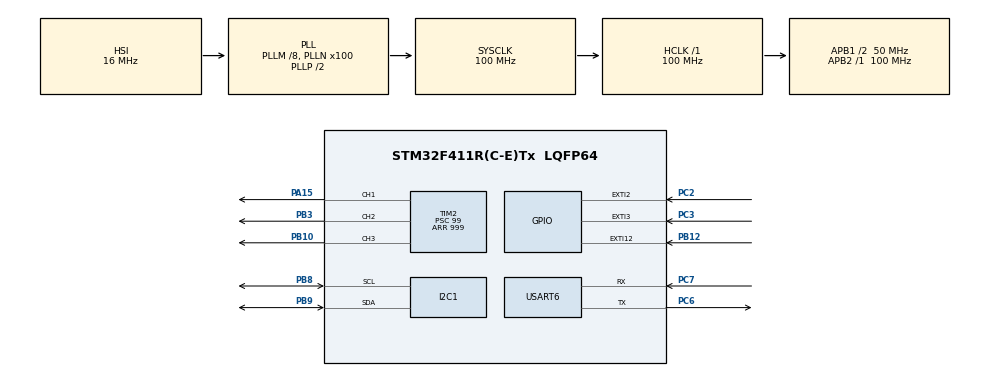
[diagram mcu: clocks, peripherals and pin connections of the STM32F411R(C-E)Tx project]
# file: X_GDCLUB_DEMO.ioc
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Dma.I2C1_RX.0.Direction=DMA_PERIPH_TO_MEMORY
Dma.I2C1_RX.0.FIFOMode=DMA_FIFOMODE_DISABLE
Dma.I2C1_RX.0.Instance=DMA1_Stream0
Dma.I2C1_RX.0.MemDataAlignment=DMA_MDATAALIGN_BYTE
Dma.I2C1_RX.0.MemInc=DMA_MINC_ENABLE
Dma.I2C1_RX.0.Mode=DMA_CIRCULAR
Dma.I2C1_RX.0.PeriphDataAlignment=DMA_PDATAALIGN_BYTE
Dma.I2C1_RX.0.PeriphInc=DMA_PINC_DISABLE
Dma.I2C1_RX.0.Priority=DMA_PRIORITY_LOW
Dma.Request0=I2C1_RX
Dma.Request1=USART6_RX
Dma.Request2=USART6_TX
Dma.USART6_RX.1.Direction=DMA_PERIPH_TO_MEMORY
Dma.USART6_RX.1.FIFOMode=DMA_FIFOMODE_DISABLE
Dma.USART6_RX.1.Instance=DMA2_Stream1
Dma.USART6_RX.1.MemDataAlignment=DMA_MDATAALIGN_BYTE
Dma.USART6_RX.1.MemInc=DMA_MINC_ENABLE
Dma.USART6_RX.1.Mode=DMA_NORMAL
Dma.USART6_RX.1.PeriphDataAlignment=DMA_PDATAALIGN_BYTE
Dma.USART6_RX.1.PeriphInc=DMA_PINC_DISABLE
Dma.USART6_RX.1.Priority=DMA_PRIORITY_MEDIUM
Dma.USART6_TX.2.Direction=DMA_MEMORY_TO_PERIPH
Dma.USART6_TX.2.FIFOMode=DMA_FIFOMODE_DISABLE
Dma.USART6_TX.2.Instance=DMA2_Stream6
Dma.USART6_TX.2.MemDataAlignment=DMA_MDATAALIGN_BYTE
Dma.USART6_TX.2.MemInc=DMA_MINC_ENABLE
Dma.USART6_TX.2.Mode=DMA_NORMAL
Dma.USART6_TX.2.PeriphDataAlignment=DMA_PDATAALIGN_BYTE
Dma.USART6_TX.2.PeriphInc=DMA_PINC_DISABLE
Dma.USART6_TX.2.Priority=DMA_PRIORITY_MEDIUM
Mcu.Family=STM32F4
Mcu.Name=STM32F411R(C-E)Tx
Mcu.Package=LQFP64
NVIC.DMA1_Stream0_IRQn=true\:0\:0\:false\:false\:true\:false\:true
NVIC.DMA2_Stream1_IRQn=true\:0\:0\:false\:false\:true\:false\:true
NVIC.DMA2_Stream6_IRQn=true\:0\:0\:false\:false\:true\:false\:true
NVIC.EXTI15_10_IRQn=true\:0\:0\:false\:false\:true\:true\:true
NVIC.EXTI2_IRQn=true\:0\:0\:false\:false\:true\:true\:true
NVIC.EXTI3_IRQn=true\:0\:0\:false\:false\:true\:true\:true
NVIC.PriorityGroup=NVIC_PRIORITYGROUP_4
NVIC.USART6_IRQn=true\:0\:0\:false\:false\:true\:true\:true
PA13.Mode=Serial_Wire
PA13.Signal=SYS_JTMS-SWDIO
PA14.Mode=Serial_Wire
PA14.Signal=SYS_JTCK-SWCLK
PA15.Signal=S_TIM2_CH1_ETR
PB10.Signal=S_TIM2_CH3
PB12.GPIO_ModeDefaultEXTI=GPIO_MODE_IT_FALLING
PB12.GPIO_PuPd=GPIO_PULLUP
PB12.Signal=GPXTI12
PB3.Signal=S_TIM2_CH2
PB8.Mode=I2C
PB8.Signal=I2C1_SCL
PB9.Mode=I2C
PB9.Signal=I2C1_SDA
PC2.Signal=GPXTI2
PC3.Signal=GPXTI3
PC6.Mode=Asynchronous
PC6.Signal=USART6_TX
PC7.Mode=Asynchronous
PC7.Signal=USART6_RX
ProjectManager.HeapSize=0x200
ProjectManager.StackSize=0x400
ProjectManager.TargetToolchain=STM32CubeIDE
RCC.48MHZClocksFreq_Value=50000000
RCC.AHBFreq_Value=100000000
RCC.APB1CLKDivider=RCC_HCLK_DIV2
RCC.APB1Freq_Value=50000000
RCC.APB1TimFreq_Value=100000000
RCC.APB2Freq_Value=100000000
RCC.APB2TimFreq_Value=100000000
RCC.CortexFreq_Value=100000000
RCC.HCLKFreq_Value=100000000
RCC.HSE_VALUE=25000000
RCC.HSI_VALUE=16000000
RCC.LSE_VALUE=32768
RCC.PLLM=8
RCC.PLLN=100
RCC.SYSCLKFreq_VALUE=100000000
RCC.SYSCLKSource=RCC_SYSCLKSOURCE_PLLCLK
RCC.VCOOutputFreq_Value=200000000
SH.S_TIM2_CH1_ETR.0=TIM2_CH1,PWM Generation1 CH1
SH.S_TIM2_CH2.0=TIM2_CH2,PWM Generation2 CH2
SH.S_TIM2_CH3.0=TIM2_CH3,PWM Generation3 CH3
TIM2.Channel-PWM\ Generation1\ CH1=TIM_CHANNEL_1
TIM2.Channel-PWM\ Generation2\ CH2=TIM_CHANNEL_2
TIM2.Channel-PWM\ Generation3\ CH3=TIM_CHANNEL_3
TIM2.Period=999
TIM2.Prescaler=99
USART6.VirtualMode=VM_ASYNC
board=custom

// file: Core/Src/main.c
/* USER CODE BEGIN Header */
/**
  ******************************************************************************
  * @file           : main.c
  * @brief          : Main program body
  ******************************************************************************
  * @attention
  *
  * <h2><center>&copy; Copyright (c) 2022 STMicroelectronics.
  * All rights reserved.</center></h2>
  *
  * This software component is licensed by ST under BSD 3-Clause license,
  * the "License"; You may not use this file except in compliance with the
  * License. You may obtain a copy of the License at:
  *                        opensource.org/licenses/BSD-3-Clause
  *
  ******************************************************************************
  */
/* USER CODE END Header */
#include "main.h"
#include "dma.h"
#include "i2c.h"
#include "tim.h"
#include "usart.h"
#include "gpio.h"

/* USER CODE BEGIN Includes */
//#include "driver_mpu6050_basic.h"
#include "driver_mpu6050_dmp.h"
//#include "mpu6050.h"
#include "eeprom.h"
#include "VOFA.h"
/* USER CODE END Includes */

/* USER CODE BEGIN PV */
uint32_t i;
uint32_t times;
uint32_t cnt;
uint16_t len;
uint8_t (*g_gpio_irq)(void) = NULL;
static int16_t gs_accel_raw[128][3];
static int16_t gs_gyro_raw[128][3];
static float gs_gyro_dps[128][3];
static int32_t gs_quat[128][4];
static float gs_pitch[128];
static float gs_roll[128];
static float gs_yaw[128];
static int32_t gs_quat[128][4];
static float gs_pitch[128];
static float gs_roll[128];
static float gs_yaw[128];
mpu6050_address_t addr;
//float yaw = 0.0f;
//float roll = 0.0f;
//float pitch = 0.0f;
//long temperature = 0;
/* USER CODE END PV */

void SystemClock_Config(void);
/* USER CODE BEGIN PFP */
static void a_receive_callback(uint8_t type);
static void a_dmp_tap_callback(uint8_t count, uint8_t direction);
static void a_dmp_orient_callback(uint8_t orientation);

/* USER CODE END PFP */

int main(void)
{

  /* MCU Configuration--------------------------------------------------------*/

  /* Reset of all peripherals, Initializes the Flash interface and the Systick. */
  HAL_Init();

  /* Configure the system clock */
  SystemClock_Config();

  /* Initialize all configured peripherals */
  MX_GPIO_Init();
  MX_DMA_Init();
  MX_TIM2_Init();
  MX_I2C1_Init();
  MX_USART6_UART_Init();
  /* USER CODE BEGIN 2 */
	//mpu6050_init();
  /* USER CODE END 2 */

  /* Infinite loop */
  /* USER CODE BEGIN WHILE */

	uint8_t tail[4] = { 0x00, 0x00, 0x80, 0x7f };
  while (1)
  {

		/****usart idle test*****/
//		if (rx_tc_flag == 1)  //接收完成标志
//				{
//			HAL_UART_Transmit_DMA(&huart6, rx_buffer, rx_len);
//			memset(rx_buffer, 0, rx_len);
//			rx_len = 0;
//			rx_tc_flag = 0;
//		}
//		 HAL_UART_Receive_DMA(&huart6, rx_buffer,
//		 RX_BUFFER_SIZE_MAX);

    /* USER CODE END WHILE */
		/* USER CODE BEGIN 3 */
		/****MPU6050 VOFA+ test*****/
//		MPU6050_Get_Euler_Temputer(&pitch, &roll, &yaw, &temperature);
//		USART_VOFA_JUSTFLOAT_FLOATDATA_TRANS(pitch);
//		USART_VOFA_JUSTFLOAT_FLOATDATA_TRANS(roll);
//		USART_VOFA_JUSTFLOAT_FLOATDATA_TRANS(yaw);
//		HAL_UART_Transmit(&huart6, (uint8_t*) tail, 4, 0xffff);

  }
  /* USER CODE END 3 */
}

void SystemClock_Config(void)
{
  RCC_OscInitTypeDef RCC_OscInitStruct = {0};
  RCC_ClkInitTypeDef RCC_ClkInitStruct = {0};

  /** Configure the main internal regulator output voltage
  */
  __HAL_RCC_PWR_CLK_ENABLE();
  __HAL_PWR_VOLTAGESCALING_CONFIG(PWR_REGULATOR_VOLTAGE_SCALE1);
  /** Initializes the RCC Oscillators according to the specified parameters
  * in the RCC_OscInitTypeDef structure.
  */
  RCC_OscInitStruct.OscillatorType = RCC_OSCILLATORTYPE_HSI;
  RCC_OscInitStruct.HSIState = RCC_HSI_ON;
  RCC_OscInitStruct.HSICalibrationValue = RCC_HSICALIBRATION_DEFAULT;
  RCC_OscInitStruct.PLL.PLLState = RCC_PLL_ON;
  RCC_OscInitStruct.PLL.PLLSource = RCC_PLLSOURCE_HSI;
  RCC_OscInitStruct.PLL.PLLM = 8;
  RCC_OscInitStruct.PLL.PLLN = 100;
  RCC_OscInitStruct.PLL.PLLP = RCC_PLLP_DIV2;
  RCC_OscInitStruct.PLL.PLLQ = 4;
  if (HAL_RCC_OscConfig(&RCC_OscInitStruct) != HAL_OK)
  {
    Error_Handler();
  }
  /** Initializes the CPU, AHB and APB buses clocks
  */
  RCC_ClkInitStruct.ClockType = RCC_CLOCKTYPE_HCLK|RCC_CLOCKTYPE_SYSCLK
                              |RCC_CLOCKTYPE_PCLK1|RCC_CLOCKTYPE_PCLK2;
  RCC_ClkInitStruct.SYSCLKSource = RCC_SYSCLKSOURCE_PLLCLK;
  RCC_ClkInitStruct.AHBCLKDivider = RCC_SYSCLK_DIV1;
  RCC_ClkInitStruct.APB1CLKDivider = RCC_HCLK_DIV2;
  RCC_ClkInitStruct.APB2CLKDivider = RCC_HCLK_DIV1;

  if (HAL_RCC_ClockConfig(&RCC_ClkInitStruct, FLASH_LATENCY_3) != HAL_OK)
  {
    Error_Handler();
  }
}

/* USER CODE BEGIN 4 */

/* USER CODE BEGIN 4 */
#ifdef __GNUC__

#define PUTCHAR_PROTOTYPE int __io_putchar(int ch)

#define GETCHAR_PROTOTYPE int __io_getchar(FILE *f)

#else

#define PUTCHAR_PROTOTYPE int fputc(int ch, FILE *f)

#define GETCHAR_PROTOTYPE int fgetc(FILE *f)

#endif /* __GNUC__ */

PUTCHAR_PROTOTYPE

{

	HAL_UART_Transmit(&huart6, (uint8_t*) &ch, 1, 0xFFFF);

	return ch;

}

static void a_receive_callback(uint8_t type) {
	switch (type) {
	case MPU6050_INTERRUPT_MOTION: {
		mpu6050_interface_debug_print("mpu6050: irq motion.\n");

		break;
	}
	case MPU6050_INTERRUPT_FIFO_OVERFLOW: {
		mpu6050_interface_debug_print("mpu6050: irq fifo overflow.\n");

		break;
	}
	case MPU6050_INTERRUPT_I2C_MAST: {
		mpu6050_interface_debug_print("mpu6050: irq i2c master.\n");

		break;
	}
	case MPU6050_INTERRUPT_DMP: {
		mpu6050_interface_debug_print("mpu6050: irq dmp\n");

		break;
	}
	case MPU6050_INTERRUPT_DATA_READY: {
		mpu6050_interface_debug_print("mpu6050: irq data ready\n");

		break;
	}
	default: {
		mpu6050_interface_debug_print("mpu6050: irq unknown code.\n");

		break;
	}
	}
}

static void a_dmp_tap_callback(uint8_t count, uint8_t direction) {
	switch (direction) {
	case MPU6050_DMP_TAP_X_UP: {
		mpu6050_interface_debug_print("mpu6050: tap irq x up with %d.\n",
				count);

		break;
	}
	case MPU6050_DMP_TAP_X_DOWN: {
		mpu6050_interface_debug_print("mpu6050: tap irq x down with %d.\n",
				count);

		break;
	}
	case MPU6050_DMP_TAP_Y_UP: {
		mpu6050_interface_debug_print("mpu6050: tap irq y up with %d.\n",
				count);

		break;
	}
	case MPU6050_DMP_TAP_Y_DOWN: {
		mpu6050_interface_debug_print("mpu6050: tap irq y down with %d.\n",
				count);

		break;
	}
	case MPU6050_DMP_TAP_Z_UP: {
		mpu6050_interface_debug_print("mpu6050: tap irq z up with %d.\n",
				count);

		break;
	}
	case MPU6050_DMP_TAP_Z_DOWN: {
		mpu6050_interface_debug_print("mpu6050: tap irq z down with %d.\n",
				count);

		break;
	}
	default: {
		mpu6050_interface_debug_print("mpu6050: tap irq unknown code.\n");

		break;
	}
	}
}

static void a_dmp_orient_callback(uint8_t orientation) {
	switch (orientation) {
	case MPU6050_DMP_ORIENT_PORTRAIT: {
		mpu6050_interface_debug_print("mpu6050: orient irq portrait.\n");

		break;
	}
	case MPU6050_DMP_ORIENT_LANDSCAPE: {
		mpu6050_interface_debug_print("mpu6050: orient irq landscape.\n");

		break;
	}
	case MPU6050_DMP_ORIENT_REVERSE_PORTRAIT: {
		mpu6050_interface_debug_print(
				"mpu6050: orient irq reverse portrait.\n");

		break;
	}
	case MPU6050_DMP_ORIENT_REVERSE_LANDSCAPE: {
		mpu6050_interface_debug_print(
				"mpu6050: orient irq reverse landscape.\n");

		break;
	}
	default: {
		mpu6050_interface_debug_print("mpu6050: orient irq unknown code.\n");

		break;
	}
	}
}

/* USER CODE END 4 */

void Error_Handler(void)
{
}

/************************ (C) COPYRIGHT STMicroelectronics *****END OF FILE****/
